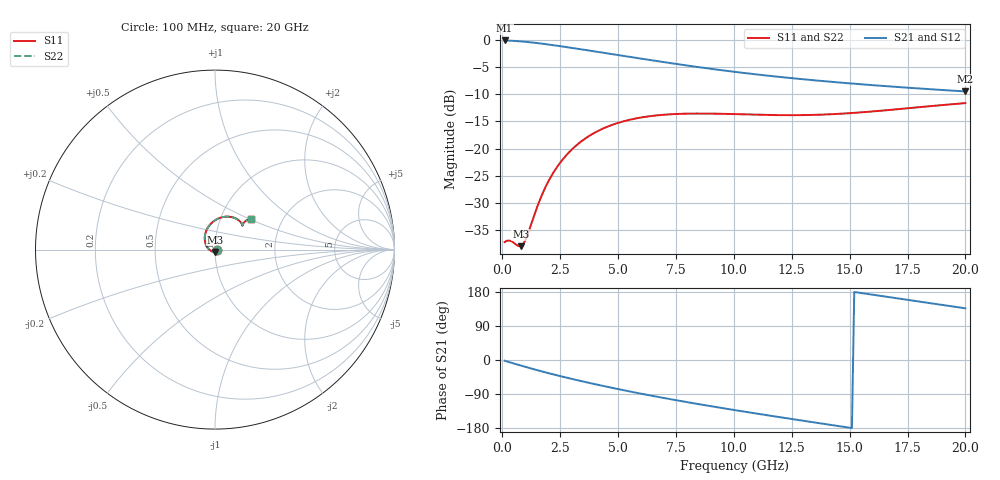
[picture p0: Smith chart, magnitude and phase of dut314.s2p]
! Touchstone file exported from HFSS 2024.1.0
!  File:  C:/UserFiles/LocalFiles/RDL_TSV_Batchsim/temp_RDL_TSV_314_1779627894.aedt
!  Generated:  09:18:28 PM May 24, 2026
!  Design:  RDL_TSV
!  Project:  temp_RDL_TSV_314_1779627894
!  Setup:  Setup1
!  Solution:  Sweep
! Variables:
!  dtsv = 8.41um
!  hbump = 3um
!  htsv = 89.44um
!  ldown = 395.07um
!  lrdl = 505.24um
!  p = 40
!  p1 = 44.88um
!  rhole = 10um
!  subl = 3206.17um
!  t = 450um
!  tdown = 4.47um
!  trdl = 3.03um
!  viad = 10um
!  wdown = 26.14um
!  wrdl = 26.8um
!  xbump = 18um
# GHz S MA R 50.000000
! Terminal data exported
! Port[1] = TM1_1_T1
! Port[2] = TM1_4_T1
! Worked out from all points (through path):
!   200 points, 100 MHz to 20 GHz, reference 50 ohm
!   highest |S21| = -0.13 dB at 100 MHz (marker M1); lowest = -9.5 dB at 20 GHz (marker M2)
!   group delay of S21, straight-line fit = 29.5 ps
!   lowest |S11| = -37.9 dB at 800 MHz (marker M3), VSWR 1.03, Z = 50.1 - j1.27 ohm
!   |S11| at or under -10 dB: start of sweep to end of sweep
!   |S22| runs from -37.9 to -11.7 dB; largest |S21 - S12| = 8.2e-15
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0.1  0.01382 -4.4  0.9857 -1.9  0.9857 -1.9  0.01382 -4.4
! Gamma 0 0 0 0
! Port Impedance 50 0 50 0
0.3  0.01431 -19.8  0.9818 -5.7  0.9818 -5.7  0.01431 -19.8
0.7  0.0127 -69.6  0.9703 -12.9  0.9703 -12.9  0.0127 -69.6
0.8  0.01268 -85.9  0.9666 -14.7  0.9666 -14.7  0.01268 -86.0
0.9  0.01321 -102.9  0.9627 -16.4  0.9627 -16.4  0.01321 -103.0
1  0.01442 -119.3  0.9584 -18.2  0.9584 -18.2  0.01442 -119.4
1.6  0.03278 178.8  0.9277 -28.3  0.9277 -28.3  0.03281 178.8
1.8  0.0413 167.3  0.9162 -31.6  0.9162 -31.6  0.04134 167.3
2.1  0.05506 153.6  0.8981 -36.4  0.8981 -36.4  0.05512 153.6
2.7  0.08383 132.9  0.8609 -45.5  0.8609 -45.5  0.08392 132.9
3.5  0.1203 112.4  0.8115 -56.9  0.8115 -56.9  0.1204 112.4
4.2  0.1476 98.2  0.7696 -66.4  0.7696 -66.4  0.1478 98.2
4.9  0.1695 86.5  0.7294 -75.5  0.7294 -75.5  0.1698 86.5
5.9  0.1915 72.9  0.6757 -87.8  0.6757 -87.8  0.1918 72.9
6.8  0.2031 63.3  0.6314 -98.3  0.6314 -98.3  0.2035 63.3
8.4  0.21 51.2  0.5633 -115.6  0.5633 -115.6  0.2104 51.2
10.1  0.2072 44.0  0.5053 -132.8  0.5053 -132.8  0.2075 43.9
11.7  0.2033 41.4  0.4621 -148.2  0.4621 -148.2  0.2035 41.3
13.4  0.2039 41.5  0.4255 -164.1  0.4255 -164.1  0.204 41.4
15  0.2115 42.6  0.3976 -178.7  0.3976 -178.7  0.2115 42.5
16.7  0.2262 43.2  0.3729 165.9  0.3729 165.9  0.226 43.1
20  0.2618 40.7  0.3352 136.4  0.3352 136.4  0.2612 40.6
